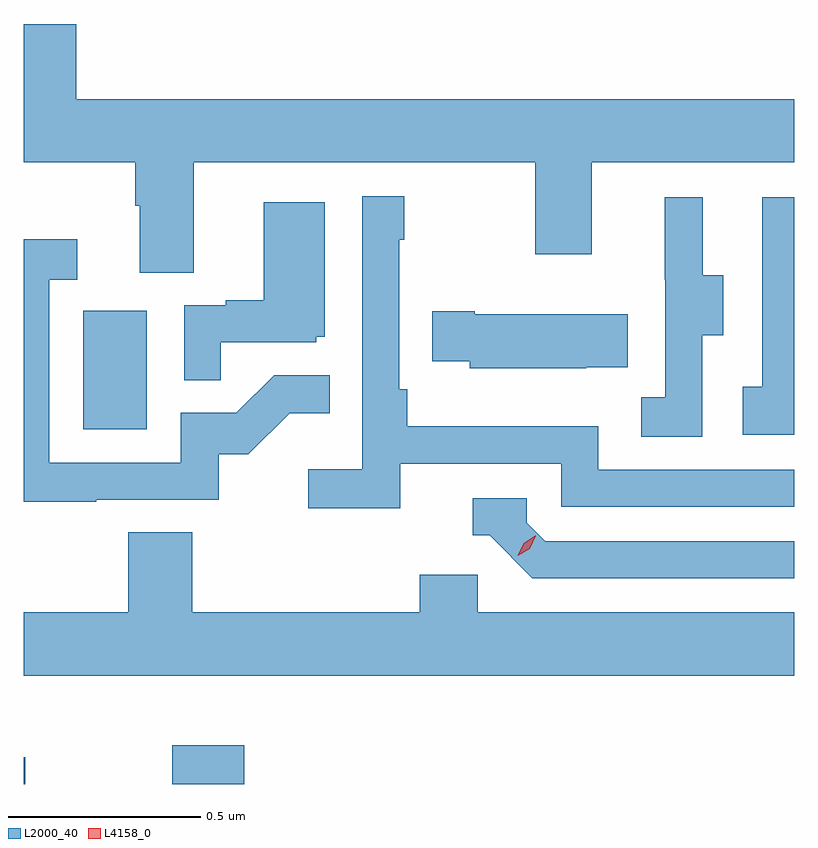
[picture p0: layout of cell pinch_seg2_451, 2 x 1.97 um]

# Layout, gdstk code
import gdstk
lib = gdstk.Library(unit=1e-6, precision=1e-09)
def R(c, l, rs):  # rectangles x0, y0, x1, y1
    for r in rs: c.add(gdstk.rectangle(r[:2], r[2:], *l))
def P(c, l, *ps):  # polygons
    for p in ps: c.add(gdstk.Polygon(p, *l))
L2000_40 = (2000, 40)
L4158_0 = (4158, 0)

pinch_seg2_451 = lib.new_cell('pinch_seg2_451')
R(pinch_seg2_451, L2000_40, [(934.839,607.395,934.843,607.464), (935.225,607.395,935.411,607.495), (934.994,608.316,935.158,608.623)])
P(pinch_seg2_451, L2000_40, [(935.281,609.008),(936.166,609.008),(936.166,608.769),(936.313,608.769),(936.313,609.008),(936.839,609.008),(936.839,609.172),(934.976,609.172),(934.976,609.367),(934.839,609.367),(934.839,609.008),(935.129,609.008),(935.129,608.896),(935.141,608.896),(935.141,608.722),(935.281,608.722)],
  [(935.816,608.226),(936.234,608.226),(936.234,608.115),(936.839,608.115),(936.839,608.211),(936.33,608.211),(936.33,608.323),(935.834,608.323),(935.834,608.419),(935.814,608.419),(935.814,608.807),(935.827,608.807),(935.827,608.92),(935.718,608.92),(935.718,608.212),(935.577,608.212),(935.577,608.11),(935.816,608.11)],
  [(936.6,608.56),(936.655,608.56),(936.655,608.715),(936.601,608.715),(936.601,608.917),(936.503,608.917),(936.503,608.703),(936.504,608.703),(936.504,608.399),(936.441,608.399),(936.441,608.296),(936.6,608.296)],
  [(936.839,608.917),(936.756,608.917),(936.756,608.426),(936.705,608.426),(936.705,608.301),(936.839,608.301)],
  [(935.351,608.541),(935.598,608.541),(935.598,608.556),(935.62,608.556),(935.62,608.905),(935.462,608.905),(935.462,608.65),(935.363,608.65),(935.363,608.637),(935.256,608.637),(935.256,608.443),(935.351,608.443)],
  [(935.027,608.133),(935.346,608.133),(935.346,608.25),(935.422,608.25),(935.529,608.357),(935.633,608.357),(935.633,608.456),(935.489,608.456),(935.391,608.358),(935.247,608.358),(935.247,608.229),(934.905,608.229),(934.905,608.703),(934.978,608.703),(934.978,608.809),(934.839,608.809),(934.839,608.128),(935.027,608.128)],
  [(936.299,608.477),(936.407,608.477),(936.407,608.614),(936.01,608.614),(936.01,608.622),(935.899,608.622),(935.899,608.492),(935.997,608.492),(935.997,608.474),(936.299,608.474)],
  [(936.839,608.025),(936.192,608.025),(936.144,608.073),(936.144,608.136),(936.005,608.136),(936.005,608.04),(936.048,608.04),(936.159,607.929),(936.839,607.929)],
  [(936.839,607.84),(936.018,607.84),(936.018,607.938),(935.867,607.938),(935.867,607.84),(935.276,607.84),(935.276,608.048),(935.111,608.048),(935.111,607.84),(934.839,607.84),(934.839,607.676),(936.839,607.676)])
P(pinch_seg2_451, L4158_0, [(936.121,607.987),(936.121,607.987),(936.137,608.02),(936.167,608.039),(936.168,608.039),(936.168,608.039),(936.152,608.006),(936.121,607.987)])

lib.write_gds('pinch_seg2_451.gds')
